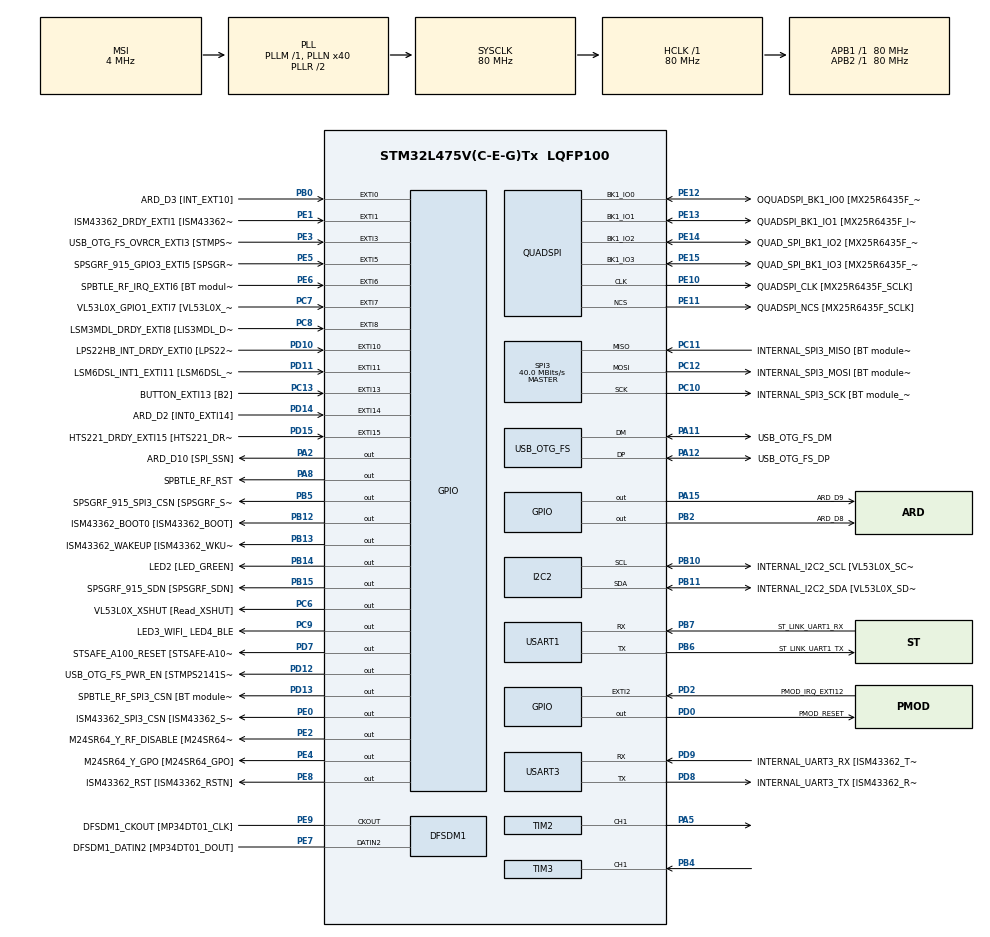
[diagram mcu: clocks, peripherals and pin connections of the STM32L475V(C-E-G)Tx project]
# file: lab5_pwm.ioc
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Mcu.Family=STM32L4
Mcu.Name=STM32L475V(C-E-G)Tx
Mcu.Package=LQFP100
NVIC.EXTI15_10_IRQn=true\:0\:0\:false\:false\:true\:true\:true\:true
NVIC.EXTI9_5_IRQn=true\:0\:0\:false\:false\:true\:true\:true\:true
NVIC.PriorityGroup=NVIC_PRIORITYGROUP_4
NVIC.TIM3_IRQn=true\:0\:0\:false\:false\:true\:true\:true\:true
PA0.GPIO_Label=ARD_D1 [UART4_TX]
PA0.Signal=UART4_TX
PA1.GPIO_Label=ARD_D0 [UART4_RX]
PA1.Signal=UART4_RX
PA10.GPIO_Label=USB_OTG_FS_ID
PA10.Signal=USB_OTG_FS_ID
PA11.GPIO_Label=USB_OTG_FS_DM
PA11.Mode=Device_Only
PA11.Signal=USB_OTG_FS_DM
PA12.GPIO_Label=USB_OTG_FS_DP
PA12.Mode=Device_Only
PA12.Signal=USB_OTG_FS_DP
PA13\ (JTMS-SWDIO).GPIO_Label=SYS_JTMS_SWDIO
PA13\ (JTMS-SWDIO).Mode=Serial_Wire
PA13\ (JTMS-SWDIO).Signal=SYS_JTMS-SWDIO
PA14\ (JTCK-SWCLK).GPIO_Label=SYS_JTCK_SWCLK
PA14\ (JTCK-SWCLK).Mode=Serial_Wire
PA14\ (JTCK-SWCLK).Signal=SYS_JTCK-SWCLK
PA15\ (JTDI).GPIO_Label=ARD_D9
PA15\ (JTDI).Signal=GPIO_Output
PA2.GPIO_Label=ARD_D10 [SPI_SSN]
PA2.Signal=GPIO_Output
PA3.GPIO_Label=ARD_D4
PA3.Signal=S_TIM2_CH4
PA4.GPIO_Label=ARD_D7
PA4.Signal=ADCx_IN9
PA5.Signal=S_TIM2_CH1
PA6.GPIO_Label=ARD_D12 [SPI1_MISO]
PA6.Signal=SPI1_MISO
PA7.GPIO_Label=ARD_D11 [SPI1_MOSI]
PA7.Signal=SPI1_MOSI
PA8.GPIO_Label=SPBTLE_RF_RST
PA8.Signal=GPIO_Output
PA9.GPIO_Label=USB_OTG_FS_VBUS [STMPS2141STR_OUT]
PA9.Signal=USB_OTG_FS_VBUS
PB0.GPIO_Label=ARD_D3 [INT_EXT10]
PB0.Signal=GPXTI0
PB1.GPIO_Label=ARD_D6 [ADC1_IN6]
PB1.Signal=ADCx_IN16
PB10.GPIO_Label=INTERNAL_I2C2_SCL [VL53L0X_SCL]
PB10.GPIO_Pu=GPIO_PULLUP
PB10.Mode=I2C
PB10.Signal=I2C2_SCL
PB11.GPIO_Label=INTERNAL_I2C2_SDA [VL53L0X_SDA]
PB11.GPIO_Pu=GPIO_PULLUP
PB11.Mode=I2C
PB11.Signal=I2C2_SDA
PB12.GPIO_Label=ISM43362_BOOT0 [ISM43362_BOOT]
PB12.Signal=GPIO_Output
PB13.GPIO_Label=ISM43362_WAKEUP [ISM43362_WKUP]
PB13.Signal=GPIO_Output
PB14.GPIO_Label=LED2 [LED_GREEN]
PB14.Signal=GPIO_Output
PB15.GPIO_Label=SPSGRF_915_SDN [SPSGRF_SDN]
PB15.Signal=GPIO_Output
PB2.GPIO_Label=ARD_D8
PB2.Signal=GPIO_Output
PB3\ (JTDO-TRACESWO).GPIO_Label=SYS_JTD0_SWO
PB3\ (JTDO-TRACESWO).Signal=SYS_JTDO-SWO
PB4\ (NJTRST).Signal=S_TIM3_CH1
PB5.GPIO_Label=SPSGRF_915_SPI3_CSN [SPSGRF_SPI_CS]
PB5.PinState=GPIO_PIN_SET
PB5.Signal=GPIO_Output
PB6.GPIO_Label=ST_LINK_UART1_TX
PB6.Mode=Asynchronous
PB6.Signal=USART1_TX
PB7.GPIO_Label=ST_LINK_UART1_RX
PB7.Mode=Asynchronous
PB7.Signal=USART1_RX
PB8.GPIO_Label=ARD_D15 [I2C1_SCL]
PB8.Signal=I2C1_SCL
PB9.GPIO_Label=ARD_D14 [I2C1_SDA]
PB9.Signal=I2C1_SDA
PC0.GPIO_Label=ARD_A5 [ADC]
PC0.Signal=ADCx_IN1
PC1.GPIO_Label=ARD_A4 [ADC]
PC1.Signal=ADCx_IN2
PC10.GPIO_Label=INTERNAL_SPI3_SCK [BT module_SPI_SCLK] [ISM43362_SCK]
PC10.Mode=Full_Duplex_Master
PC10.Signal=SPI3_SCK
PC11.GPIO_Label=INTERNAL_SPI3_MISO [BT module_SPI_MISO] [ISM43362_MISO]
PC11.Mode=Full_Duplex_Master
PC11.Signal=SPI3_MISO
PC12.GPIO_Label=INTERNAL_SPI3_MOSI [BT module_SPI_MOSI] [ISM43362_MOSI]
PC12.Mode=Full_Duplex_Master
PC12.Signal=SPI3_MOSI
PC13.GPIO_Label=BUTTON_EXTI13 [B2]
PC13.GPIO_ModeDefaultEXTI=GPIO_MODE_IT_FALLING
PC13.Signal=GPXTI13
PC14-OSC32_IN\ (PC14).Mode=LSE-External-Oscillator
PC14-OSC32_IN\ (PC14).Signal=RCC_OSC32_IN
PC15-OSC32_OUT\ (PC15).Mode=LSE-External-Oscillator
PC15-OSC32_OUT\ (PC15).Signal=RCC_OSC32_OUT
PC2.GPIO_Label=ARD_A3 [ADC]
PC2.Signal=ADCx_IN3
PC3.GPIO_Label=ARD_A2 [ADC]
PC3.Signal=ADCx_IN4
PC4.GPIO_Label=ARD_A1 [ADC]
PC4.Signal=ADCx_IN13
PC5.GPIO_Label=ARD_A0 [ADC]
PC5.Signal=ADCx_IN14
PC6.GPIO_Label=VL53L0X_XSHUT [Read_XSHUT]
PC6.Signal=GPIO_Output
PC7.GPIO_Label=VL53L0X_GPIO1_EXTI7 [VL53L0X_GPIO1]
PC7.Signal=GPXTI7
PC8.GPIO_Label=LSM3MDL_DRDY_EXTI8 [LIS3MDL_DRDY]
PC8.Signal=GPXTI8
PC9.GPIO_Label=LED3_WIFI_ LED4_BLE
PC9.Signal=GPIO_Output
PD0.GPIO_Label=PMOD_RESET
PD0.Signal=GPIO_Output
PD1.GPIO_Label=PMOD_SPI2_SCK
PD1.Signal=SPI2_SCK
PD10.GPIO_Label=LPS22HB_INT_DRDY_EXTI0 [LPS22HB_INT_DRDY] 
PD10.Signal=GPXTI10
PD11.GPIO_Label=LSM6DSL_INT1_EXTI11 [LSM6DSL_INT1]
PD11.Signal=GPXTI11
PD12.GPIO_Label=USB_OTG_FS_PWR_EN [STMPS2141STR_EN]
PD12.Signal=GPIO_Output
PD13.GPIO_Label=SPBTLE_RF_SPI3_CSN [BT module_SPI_CS]
PD13.PinState=GPIO_PIN_SET
PD13.Signal=GPIO_Output
PD14.GPIO_Label=ARD_D2 [INT0_EXTI14]
PD14.Signal=GPXTI14
PD15.GPIO_Label=HTS221_DRDY_EXTI15 [HTS221_DRDY]
PD15.Signal=GPXTI15
PD2.GPIO_Label=PMOD_IRQ_EXTI12
PD2.Signal=GPXTI2
PD3.GPIO_Label=PMOD_UART2_CTS
PD3.Signal=USART2_CTS
PD4.GPIO_Label=PMOD_UART2_RTS
PD4.Signal=USART2_RTS
PD5.GPIO_Label=PMOD_UART2_TX
PD5.Signal=USART2_TX
PD6.GPIO_Label=PMOD_UART2_RX
PD6.Signal=USART2_RX
PD7.GPIO_Label=STSAFE_A100_RESET [STSAFE-A100_RESET]
PD7.Signal=GPIO_Output
PD8.GPIO_Label=INTERNAL_UART3_TX [ISM43362_RX]
PD8.Mode=Asynchronous
PD8.Signal=USART3_TX
PD9.GPIO_Label=INTERNAL_UART3_RX [ISM43362_TX]
PD9.Mode=Asynchronous
PD9.Signal=USART3_RX
PE0.GPIO_Label=ISM43362_SPI3_CSN [ISM43362_SSN]
PE0.PinState=GPIO_PIN_SET
PE0.Signal=GPIO_Output
PE1.GPIO_Label=ISM43362_DRDY_EXTI1 [ISM43362_DATARDY]
PE1.Signal=GPXTI1
PE10.GPIO_Label=QUADSPI_CLK [MX25R6435F_SCLK]
PE10.Mode=Single Bank
PE10.Signal=QUADSPI_CLK
PE11.GPIO_Label=QUADSPI_NCS [MX25R6435F_SCLK]
PE11.Mode=Single Bank
PE11.Signal=QUADSPI_NCS
PE12.GPIO_Label=OQUADSPI_BK1_IO0 [MX25R6435F_IO0]
PE12.Mode=Single Bank
PE12.Signal=QUADSPI_BK1_IO0
PE13.GPIO_Label=QUADSPI_BK1_IO1 [MX25R6435F_IO1]
PE13.Mode=Single Bank
PE13.Signal=QUADSPI_BK1_IO1
PE14.GPIO_Label=QUAD_SPI_BK1_IO2 [MX25R6435F_IO2]
PE14.Mode=Single Bank
PE14.Signal=QUADSPI_BK1_IO2
PE15.GPIO_Label=QUAD_SPI_BK1_IO3 [MX25R6435F_IO3]
PE15.Mode=Single Bank
PE15.Signal=QUADSPI_BK1_IO3
PE2.GPIO_Label=M24SR64_Y_RF_DISABLE [M24SR64_RFDIS]
PE2.Signal=GPIO_Output
PE3.GPIO_Label=USB_OTG_FS_OVRCR_EXTI3 [STMPS2141STR_FAULT]
PE3.Signal=GPXTI3
PE4.GPIO_Label=M24SR64_Y_GPO [M24SR64_GPO]
PE4.Signal=GPIO_Output
PE5.GPIO_Label=SPSGRF_915_GPIO3_EXTI5 [SPSGRF_GPIO_3]
PE5.Signal=GPXTI5
PE6.GPIO_Label=SPBTLE_RF_IRQ_EXTI6 [BT module_SPI_IRQ]
PE6.Signal=GPXTI6
PE7.GPIO_Label=DFSDM1_DATIN2 [MP34DT01_DOUT]
PE7.Signal=S_DATAIN2DFSDM1
PE8.GPIO_Label=ISM43362_RST [ISM43362_RSTN]
PE8.Signal=GPIO_Output
PE9.GPIO_Label=DFSDM1_CKOUT [MP34DT01_CLK]
PE9.Signal=S_CKOUTDFSDM1
ProjectManager.HeapSize=0x200
ProjectManager.StackSize=0x400
ProjectManager.TargetToolchain=CMake
QUADSPI.ClockPrescaler=2
QUADSPI.FifoThreshold=4
QUADSPI.FlashSize=23
QUADSPI.SampleShifting=QSPI_SAMPLE_SHIFTING_HALFCYCLE
RCC.ADCFreq_Value=48000000
RCC.AHBFreq_Value=80000000
RCC.APB1Freq_Value=80000000
RCC.APB1TimFreq_Value=80000000
RCC.APB2Freq_Value=80000000
RCC.APB2TimFreq_Value=80000000
RCC.CortexFreq_Value=80000000
RCC.HCLKFreq_Value=80000000
RCC.HSE_VALUE=8000000
RCC.HSI_VALUE=16000000
RCC.MSI_VALUE=4000000
RCC.PLLN=40
RCC.PLLSAI1N=24
RCC.SYSCLKFreq_VALUE=80000000
RCC.SYSCLKSource=RCC_SYSCLKSOURCE_PLLCLK
RCC.USBFreq_Value=48000000
RCC.VCOOutputFreq_Value=160000000
SH.ADCx_IN1.0=ADC1_IN1
SH.ADCx_IN13.0=ADC1_IN13
SH.ADCx_IN14.0=ADC1_IN14
SH.ADCx_IN16.0=ADC1_IN16
SH.ADCx_IN2.0=ADC1_IN2
SH.ADCx_IN3.0=ADC1_IN3
SH.ADCx_IN4.0=ADC1_IN4
SH.ADCx_IN9.0=ADC1_IN9
SH.S_CKOUTDFSDM1.0=DFSDM1_CKOUT,CKOUT
SH.S_CKOUTDFSDM1.1=DFSDM1_CKOUT,PDM_SPI_Input_from_ch12_and_Internal_Clock
SH.S_DATAIN2DFSDM1.0=DFSDM1_DATIN2,PDM_SPI_Input_from_ch12_and_Internal_Clock
SH.S_TIM2_CH1.0=TIM2_CH1,PWM Generation1 CH1
SH.S_TIM2_CH4.0=TIM2_CH4
SH.S_TIM3_CH1.0=TIM3_CH1,Input_Capture1_from_TI1
SPI3.CalculateBaudRate=40.0 MBits/s
SPI3.Direction=SPI_DIRECTION_2LINES
SPI3.Mode=SPI_MODE_MASTER
SPI3.VirtualType=VM_MASTER
TIM2.Channel-PWM\ Generation1\ CH1=TIM_CHANNEL_1
TIM2.Period=999
TIM2.Prescaler=79
TIM2.Pulse-PWM\ Generation1\ CH1=250
TIM3.Channel-Input_Capture1_from_TI1=TIM_CHANNEL_1
TIM3.Channel-Input_Capture2_from_TI1_63=TIM_CHANNEL_2
TIM3.ICPolarity_CH2=TIM_INPUTCHANNELPOLARITY_FALLING
TIM3.Prescaler=79
USART1.VirtualMode-Asynchronous=VM_ASYNC
USART3.VirtualMode-Asynchronous=VM_ASYNC
USB_OTG_FS.VirtualMode=Device_Only
VP_TIM2_VS_ClockSourceINT.Mode=Internal
VP_TIM3_VS_ClockSourceINT.Mode=Internal
VP_TIM3_VS_indirect_ch1.Mode=Input_Capture2_from_TI1_63
board=B-L475E-IOT01A1

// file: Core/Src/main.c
/* USER CODE BEGIN Header */
/**
  ******************************************************************************
  * @file           : main.c
  * @brief          : Main program body
  ******************************************************************************
  * @attention
  *
  * Copyright (c) 2026 STMicroelectronics.
  * All rights reserved.
  *
  * This software is licensed under terms that can be found in the LICENSE file
  * in the root directory of this software component.
  * If no LICENSE file comes with this software, it is provided AS-IS.
  *
  ******************************************************************************
  */
/* USER CODE END Header */
#include "main.h"

/* USER CODE BEGIN Includes */
#include <stdio.h>

/* USER CODE END Includes */

DFSDM_Channel_HandleTypeDef hdfsdm1_channel1;

I2C_HandleTypeDef hi2c2;

QSPI_HandleTypeDef hqspi;

SPI_HandleTypeDef hspi3;

TIM_HandleTypeDef htim2;
TIM_HandleTypeDef htim3;

UART_HandleTypeDef huart1;
UART_HandleTypeDef huart3;

PCD_HandleTypeDef hpcd_USB_OTG_FS;

/* USER CODE BEGIN PV */
volatile uint32_t period_us = 0;
volatile uint32_t capture_count = 0;
volatile uint32_t high_us = 0;
/* USER CODE END PV */

void SystemClock_Config(void);
static void MX_GPIO_Init(void);
static void MX_DFSDM1_Init(void);
static void MX_I2C2_Init(void);
static void MX_QUADSPI_Init(void);
static void MX_SPI3_Init(void);
static void MX_USART1_UART_Init(void);
static void MX_USART3_UART_Init(void);
static void MX_USB_OTG_FS_PCD_Init(void);
static void MX_TIM2_Init(void);
static void MX_TIM3_Init(void);

/* USER CODE BEGIN 0 */
void HAL_TIM_IC_CaptureCallback(TIM_HandleTypeDef *htim)
{
  static uint16_t previous_rise = 0;
  static uint16_t pending_high = 0;
  static uint8_t have_rise = 0;
  static uint8_t have_fall = 0;

  if (htim->Instance != TIM3)
    return;

  if (htim->Channel == HAL_TIM_ACTIVE_CHANNEL_1)
  {
    uint16_t current =
        (uint16_t)HAL_TIM_ReadCapturedValue(htim, TIM_CHANNEL_1);

    if (have_rise && have_fall)
    {
      period_us = (uint16_t)(current - previous_rise);
      high_us = pending_high;
    }

    previous_rise = current;
    have_rise = 1;
    have_fall = 0;
    capture_count++;
  }
  else if (htim->Channel == HAL_TIM_ACTIVE_CHANNEL_2)
  {
    uint16_t current =
        (uint16_t)HAL_TIM_ReadCapturedValue(htim, TIM_CHANNEL_2);

    if (have_rise)
    {
      pending_high = (uint16_t)(current - previous_rise);
      have_fall = 1;
    }
  }
}
/* USER CODE END 0 */

int main(void)
{

  /* MCU Configuration--------------------------------------------------------*/

  /* Reset of all peripherals, Initializes the Flash interface and the Systick. */
  HAL_Init();

  /* Configure the system clock */
  SystemClock_Config();

  /* Initialize all configured peripherals */
  MX_GPIO_Init();
  MX_DFSDM1_Init();
  MX_I2C2_Init();
  MX_QUADSPI_Init();
  MX_SPI3_Init();
  MX_USART1_UART_Init();
  MX_USART3_UART_Init();
  MX_USB_OTG_FS_PCD_Init();
  MX_TIM2_Init();
  MX_TIM3_Init();
  /* USER CODE BEGIN 2 */
  HAL_TIM_IC_Start_IT(&htim3, TIM_CHANNEL_2);
  HAL_TIM_IC_Start_IT(&htim3, TIM_CHANNEL_1);

  __HAL_TIM_SET_COMPARE(&htim2, TIM_CHANNEL_1, 500);
  HAL_TIM_PWM_Start(&htim2, TIM_CHANNEL_1);
  uint32_t last_change = HAL_GetTick();
  uint32_t duty_index = 0;
  const uint32_t compare_values[] = {1, 250, 500, 750, 999};

  __HAL_TIM_SET_COMPARE(&htim2, TIM_CHANNEL_1,
                        compare_values[duty_index]);
  /* USER CODE END 2 */

  /* Infinite loop */
  while (1)
  {

    /* USER CODE BEGIN 3 */
    // for(int i = 0; i <= 1000; i += 100){
    //   __HAL_TIM_SET_COMPARE(&htim2, TIM_CHANNEL_1, i);
    //   HAL_Delay(500);
    // }
    // for(int i = 1000; i >= 0; i -= 100){
    //   __HAL_TIM_SET_COMPARE(&htim2, TIM_CHANNEL_1, i);
    //   HAL_Delay(500);
    // }
    uint32_t now = HAL_GetTick();

    if (now - last_change >= 2000)
    {
      last_change = now;
      duty_index = (duty_index + 1) % 5;

      __HAL_TIM_SET_COMPARE(&htim2, TIM_CHANNEL_1,
                            compare_values[duty_index]);
    }
    uint32_t period;
    uint32_t high;

    /* Read a matching pair without the callback updating it halfway. */
    __disable_irq();
    period = period_us;
    high = high_us;
    __enable_irq();
1000
    char message[120];
    int length;

    if (period != 0)
    {
      uint32_t frequency = 1000000UL / period;
      uint32_t duty = high * 100UL / period;

      length = snprintf(message, sizeof(message),
                        "Period: %lu us, HIGH: %lu us, "
                        "Frequency: %lu Hz, Duty: %lu%%\r\n",
                        (unsigned long)period,
                        (unsigned long)high,
                        (unsigned long)frequency,
                        (unsigned long)duty);
    }
    else
    {
      length = snprintf(message, sizeof(message),
                        "Waiting for capture...\r\n");
    }

    HAL_UART_Transmit(&huart1, (uint8_t *)message,
                      (uint16_t)length, HAL_MAX_DELAY);
    HAL_Delay(500);
  }
  /* USER CODE END 3 */
}

void SystemClock_Config(void)
{
  RCC_OscInitTypeDef RCC_OscInitStruct = {0};
  RCC_ClkInitTypeDef RCC_ClkInitStruct = {0};

  /** Configure the main internal regulator output voltage
  */
  if (HAL_PWREx_ControlVoltageScaling(PWR_REGULATOR_VOLTAGE_SCALE1) != HAL_OK)
  {
    Error_Handler();
  }

  /** Configure LSE Drive Capability
  */
  HAL_PWR_EnableBkUpAccess();
  __HAL_RCC_LSEDRIVE_CONFIG(RCC_LSEDRIVE_LOW);

  /** Initializes the RCC Oscillators according to the specified parameters
  * in the RCC_OscInitTypeDef structure.
  */
  RCC_OscInitStruct.OscillatorType = RCC_OSCILLATORTYPE_LSE|RCC_OSCILLATORTYPE_MSI;
  RCC_OscInitStruct.LSEState = RCC_LSE_ON;
  RCC_OscInitStruct.MSIState = RCC_MSI_ON;
  RCC_OscInitStruct.MSICalibrationValue = 0;
  RCC_OscInitStruct.MSIClockRange = RCC_MSIRANGE_6;
  RCC_OscInitStruct.PLL.PLLState = RCC_PLL_ON;
  RCC_OscInitStruct.PLL.PLLSource = RCC_PLLSOURCE_MSI;
  RCC_OscInitStruct.PLL.PLLM = 1;
  RCC_OscInitStruct.PLL.PLLN = 40;
  RCC_OscInitStruct.PLL.PLLP = RCC_PLLP_DIV7;
  RCC_OscInitStruct.PLL.PLLQ = RCC_PLLQ_DIV2;
  RCC_OscInitStruct.PLL.PLLR = RCC_PLLR_DIV2;
  if (HAL_RCC_OscConfig(&RCC_OscInitStruct) != HAL_OK)
  {
    Error_Handler();
  }

  /** Initializes the CPU, AHB and APB buses clocks
  */
  RCC_ClkInitStruct.ClockType = RCC_CLOCKTYPE_HCLK|RCC_CLOCKTYPE_SYSCLK
                              |RCC_CLOCKTYPE_PCLK1|RCC_CLOCKTYPE_PCLK2;
  RCC_ClkInitStruct.SYSCLKSource = RCC_SYSCLKSOURCE_PLLCLK;
  RCC_ClkInitStruct.AHBCLKDivider = RCC_SYSCLK_DIV1;
  RCC_ClkInitStruct.APB1CLKDivider = RCC_HCLK_DIV1;
  RCC_ClkInitStruct.APB2CLKDivider = RCC_HCLK_DIV1;

  if (HAL_RCC_ClockConfig(&RCC_ClkInitStruct, FLASH_LATENCY_4) != HAL_OK)
  {
    Error_Handler();
  }

  /** Enable MSI Auto calibration
  */
  HAL_RCCEx_EnableMSIPLLMode();
}

static void MX_DFSDM1_Init(void)
{

  hdfsdm1_channel1.Instance = DFSDM1_Channel1;
  hdfsdm1_channel1.Init.OutputClock.Activation = ENABLE;
  hdfsdm1_channel1.Init.OutputClock.Selection = DFSDM_CHANNEL_OUTPUT_CLOCK_SYSTEM;
  hdfsdm1_channel1.Init.OutputClock.Divider = 2;
  hdfsdm1_channel1.Init.Input.Multiplexer = DFSDM_CHANNEL_EXTERNAL_INPUTS;
  hdfsdm1_channel1.Init.Input.DataPacking = DFSDM_CHANNEL_STANDARD_MODE;
  hdfsdm1_channel1.Init.Input.Pins = DFSDM_CHANNEL_FOLLOWING_CHANNEL_PINS;
  hdfsdm1_channel1.Init.SerialInterface.Type = DFSDM_CHANNEL_SPI_RISING;
  hdfsdm1_channel1.Init.SerialInterface.SpiClock = DFSDM_CHANNEL_SPI_CLOCK_INTERNAL;
  hdfsdm1_channel1.Init.Awd.FilterOrder = DFSDM_CHANNEL_FASTSINC_ORDER;
  hdfsdm1_channel1.Init.Awd.Oversampling = 1;
  hdfsdm1_channel1.Init.Offset = 0;
  hdfsdm1_channel1.Init.RightBitShift = 0x00;
  if (HAL_DFSDM_ChannelInit(&hdfsdm1_channel1) != HAL_OK)
  {
    Error_Handler();
  }

}

static void MX_I2C2_Init(void)
{

  hi2c2.Instance = I2C2;
  hi2c2.Init.Timing = 0x00000E14;
  hi2c2.Init.OwnAddress1 = 0;
  hi2c2.Init.AddressingMode = I2C_ADDRESSINGMODE_7BIT;
  hi2c2.Init.DualAddressMode = I2C_DUALADDRESS_DISABLE;
  hi2c2.Init.OwnAddress2 = 0;
  hi2c2.Init.OwnAddress2Masks = I2C_OA2_NOMASK;
  hi2c2.Init.GeneralCallMode = I2C_GENERALCALL_DISABLE;
  hi2c2.Init.NoStretchMode = I2C_NOSTRETCH_DISABLE;
  if (HAL_I2C_Init(&hi2c2) != HAL_OK)
  {
    Error_Handler();
  }

  /** Configure Analogue filter
  */
  if (HAL_I2CEx_ConfigAnalogFilter(&hi2c2, I2C_ANALOGFILTER_ENABLE) != HAL_OK)
  {
    Error_Handler();
  }

  /** Configure Digital filter
  */
  if (HAL_I2CEx_ConfigDigitalFilter(&hi2c2, 0) != HAL_OK)
  {
    Error_Handler();
  }

}

static void MX_QUADSPI_Init(void)
{

  /* QUADSPI parameter configuration*/
  hqspi.Instance = QUADSPI;
  hqspi.Init.ClockPrescaler = 2;
  hqspi.Init.FifoThreshold = 4;
  hqspi.Init.SampleShifting = QSPI_SAMPLE_SHIFTING_HALFCYCLE;
  hqspi.Init.FlashSize = 23;
  hqspi.Init.ChipSelectHighTime = QSPI_CS_HIGH_TIME_1_CYCLE;
  hqspi.Init.ClockMode = QSPI_CLOCK_MODE_0;
  if (HAL_QSPI_Init(&hqspi) != HAL_OK)
  {
    Error_Handler();
  }

}

static void MX_SPI3_Init(void)
{

  /* SPI3 parameter configuration*/
  hspi3.Instance = SPI3;
  hspi3.Init.Mode = SPI_MODE_MASTER;
  hspi3.Init.Direction = SPI_DIRECTION_2LINES;
  hspi3.Init.DataSize = SPI_DATASIZE_4BIT;
  hspi3.Init.CLKPolarity = SPI_POLARITY_LOW;
  hspi3.Init.CLKPhase = SPI_PHASE_1EDGE;
  hspi3.Init.NSS = SPI_NSS_SOFT;
  hspi3.Init.BaudRatePrescaler = SPI_BAUDRATEPRESCALER_2;
  hspi3.Init.FirstBit = SPI_FIRSTBIT_MSB;
  hspi3.Init.TIMode = SPI_TIMODE_DISABLE;
  hspi3.Init.CRCCalculation = SPI_CRCCALCULATION_DISABLE;
  hspi3.Init.CRCPolynomial = 7;
  hspi3.Init.CRCLength = SPI_CRC_LENGTH_DATASIZE;
  hspi3.Init.NSSPMode = SPI_NSS_PULSE_ENABLE;
  if (HAL_SPI_Init(&hspi3) != HAL_OK)
  {
    Error_Handler();
  }

}

static void MX_TIM2_Init(void)
{

  TIM_ClockConfigTypeDef sClockSourceConfig = {0};
  TIM_MasterConfigTypeDef sMasterConfig = {0};
  TIM_OC_InitTypeDef sConfigOC = {0};

  htim2.Instance = TIM2;
  htim2.Init.Prescaler = 79;
  htim2.Init.CounterMode = TIM_COUNTERMODE_UP;
  htim2.Init.Period = 999;
  htim2.Init.ClockDivision = TIM_CLOCKDIVISION_DIV1;
  htim2.Init.AutoReloadPreload = TIM_AUTORELOAD_PRELOAD_DISABLE;
  if (HAL_TIM_Base_Init(&htim2) != HAL_OK)
  {
    Error_Handler();
  }
  sClockSourceConfig.ClockSource = TIM_CLOCKSOURCE_INTERNAL;
  if (HAL_TIM_ConfigClockSource(&htim2, &sClockSourceConfig) != HAL_OK)
  {
    Error_Handler();
  }
  if (HAL_TIM_PWM_Init(&htim2) != HAL_OK)
  {
    Error_Handler();
  }
  sMasterConfig.MasterOutputTrigger = TIM_TRGO_RESET;
  sMasterConfig.MasterSlaveMode = TIM_MASTERSLAVEMODE_DISABLE;
  if (HAL_TIMEx_MasterConfigSynchronization(&htim2, &sMasterConfig) != HAL_OK)
  {
    Error_Handler();
  }
  sConfigOC.OCMode = TIM_OCMODE_PWM1;
  sConfigOC.Pulse = 250;
  sConfigOC.OCPolarity = TIM_OCPOLARITY_HIGH;
  sConfigOC.OCFastMode = TIM_OCFAST_DISABLE;
  if (HAL_TIM_PWM_ConfigChannel(&htim2, &sConfigOC, TIM_CHANNEL_1) != HAL_OK)
  {
    Error_Handler();
  }
  HAL_TIM_MspPostInit(&htim2);

}

static void MX_TIM3_Init(void)
{

  TIM_ClockConfigTypeDef sClockSourceConfig = {0};
  TIM_MasterConfigTypeDef sMasterConfig = {0};
  TIM_IC_InitTypeDef sConfigIC = {0};

  htim3.Instance = TIM3;
  htim3.Init.Prescaler = 79;
  htim3.Init.CounterMode = TIM_COUNTERMODE_UP;
  htim3.Init.Period = 65535;
  htim3.Init.ClockDivision = TIM_CLOCKDIVISION_DIV1;
  htim3.Init.AutoReloadPreload = TIM_AUTORELOAD_PRELOAD_DISABLE;
  if (HAL_TIM_Base_Init(&htim3) != HAL_OK)
  {
    Error_Handler();
  }
  sClockSourceConfig.ClockSource = TIM_CLOCKSOURCE_INTERNAL;
  if (HAL_TIM_ConfigClockSource(&htim3, &sClockSourceConfig) != HAL_OK)
  {
    Error_Handler();
  }
  if (HAL_TIM_IC_Init(&htim3) != HAL_OK)
  {
    Error_Handler();
  }
  sMasterConfig.MasterOutputTrigger = TIM_TRGO_RESET;
  sMasterConfig.MasterSlaveMode = TIM_MASTERSLAVEMODE_DISABLE;
  if (HAL_TIMEx_MasterConfigSynchronization(&htim3, &sMasterConfig) != HAL_OK)
  {
    Error_Handler();
  }
  sConfigIC.ICPolarity = TIM_INPUTCHANNELPOLARITY_RISING;
  sConfigIC.ICSelection = TIM_ICSELECTION_DIRECTTI;
  sConfigIC.ICPrescaler = TIM_ICPSC_DIV1;
  sConfigIC.ICFilter = 0;
  if (HAL_TIM_IC_ConfigChannel(&htim3, &sConfigIC, TIM_CHANNEL_1) != HAL_OK)
  {
    Error_Handler();
  }
  sConfigIC.ICPolarity = TIM_INPUTCHANNELPOLARITY_FALLING;
  sConfigIC.ICSelection = TIM_ICSELECTION_INDIRECTTI;
  if (HAL_TIM_IC_ConfigChannel(&htim3, &sConfigIC, TIM_CHANNEL_2) != HAL_OK)
  {
    Error_Handler();
  }

}

static void MX_USART1_UART_Init(void)
{

  huart1.Instance = USART1;
  huart1.Init.BaudRate = 115200;
  huart1.Init.WordLength = UART_WORDLENGTH_8B;
  huart1.Init.StopBits = UART_STOPBITS_1;
  huart1.Init.Parity = UART_PARITY_NONE;
  huart1.Init.Mode = UART_MODE_TX_RX;
  huart1.Init.HwFlowCtl = UART_HWCONTROL_NONE;
  huart1.Init.OverSampling = UART_OVERSAMPLING_16;
  huart1.Init.OneBitSampling = UART_ONE_BIT_SAMPLE_DISABLE;
  huart1.AdvancedInit.AdvFeatureInit = UART_ADVFEATURE_NO_INIT;
  if (HAL_UART_Init(&huart1) != HAL_OK)
  {
    Error_Handler();
  }

}

static void MX_USART3_UART_Init(void)
{

  huart3.Instance = USART3;
  huart3.Init.BaudRate = 115200;
  huart3.Init.WordLength = UART_WORDLENGTH_8B;
  huart3.Init.StopBits = UART_STOPBITS_1;
  huart3.Init.Parity = UART_PARITY_NONE;
  huart3.Init.Mode = UART_MODE_TX_RX;
  huart3.Init.HwFlowCtl = UART_HWCONTROL_NONE;
  huart3.Init.OverSampling = UART_OVERSAMPLING_16;
  huart3.Init.OneBitSampling = UART_ONE_BIT_SAMPLE_DISABLE;
  huart3.AdvancedInit.AdvFeatureInit = UART_ADVFEATURE_NO_INIT;
  if (HAL_UART_Init(&huart3) != HAL_OK)
  {
    Error_Handler();
  }

}

static void MX_USB_OTG_FS_PCD_Init(void)
{

  hpcd_USB_OTG_FS.Instance = USB_OTG_FS;
  hpcd_USB_OTG_FS.Init.dev_endpoints = 6;
  hpcd_USB_OTG_FS.Init.speed = PCD_SPEED_FULL;
  hpcd_USB_OTG_FS.Init.phy_itface = PCD_PHY_EMBEDDED;
  hpcd_USB_OTG_FS.Init.Sof_enable = DISABLE;
  hpcd_USB_OTG_FS.Init.low_power_enable = DISABLE;
  hpcd_USB_OTG_FS.Init.lpm_enable = DISABLE;
  hpcd_USB_OTG_FS.Init.battery_charging_enable = DISABLE;
  hpcd_USB_OTG_FS.Init.use_dedicated_ep1 = DISABLE;
  hpcd_USB_OTG_FS.Init.vbus_sensing_enable = DISABLE;
  if (HAL_PCD_Init(&hpcd_USB_OTG_FS) != HAL_OK)
  {
    Error_Handler();
  }

}

static void MX_GPIO_Init(void)
{
  GPIO_InitTypeDef GPIO_InitStruct = {0};

  /* GPIO Ports Clock Enable */
  __HAL_RCC_GPIOE_CLK_ENABLE();
  __HAL_RCC_GPIOC_CLK_ENABLE();
  __HAL_RCC_GPIOA_CLK_ENABLE();
  __HAL_RCC_GPIOB_CLK_ENABLE();
  __HAL_RCC_GPIOD_CLK_ENABLE();

  /*Configure GPIO pin Output Level */
  HAL_GPIO_WritePin(GPIOE, M24SR64_Y_RF_DISABLE_Pin|M24SR64_Y_GPO_Pin|ISM43362_RST_Pin, GPIO_PIN_RESET);

  /*Configure GPIO pin Output Level */
  HAL_GPIO_WritePin(GPIOA, ARD_D10_Pin|SPBTLE_RF_RST_Pin|ARD_D9_Pin, GPIO_PIN_RESET);

  /*Configure GPIO pin Output Level */
  HAL_GPIO_WritePin(GPIOB, ARD_D8_Pin|ISM43362_BOOT0_Pin|ISM43362_WAKEUP_Pin|LED2_Pin
                          |SPSGRF_915_SDN_Pin, GPIO_PIN_RESET);

  /*Configure GPIO pin Output Level */
  HAL_GPIO_WritePin(GPIOD, USB_OTG_FS_PWR_EN_Pin|PMOD_RESET_Pin|STSAFE_A100_RESET_Pin, GPIO_PIN_RESET);

  /*Configure GPIO pin Output Level */
  HAL_GPIO_WritePin(SPBTLE_RF_SPI3_CSN_GPIO_Port, SPBTLE_RF_SPI3_CSN_Pin, GPIO_PIN_SET);

  /*Configure GPIO pin Output Level */
  HAL_GPIO_WritePin(GPIOC, VL53L0X_XSHUT_Pin|LED3_WIFI__LED4_BLE_Pin, GPIO_PIN_RESET);

  /*Configure GPIO pin Output Level */
  HAL_GPIO_WritePin(SPSGRF_915_SPI3_CSN_GPIO_Port, SPSGRF_915_SPI3_CSN_Pin, GPIO_PIN_SET);

  /*Configure GPIO pin Output Level */
  HAL_GPIO_WritePin(ISM43362_SPI3_CSN_GPIO_Port, ISM43362_SPI3_CSN_Pin, GPIO_PIN_SET);

  /*Configure GPIO pins : M24SR64_Y_RF_DISABLE_Pin M24SR64_Y_GPO_Pin ISM43362_RST_Pin ISM43362_SPI3_CSN_Pin */
  GPIO_InitStruct.Pin = M24SR64_Y_RF_DISABLE_Pin|M24SR64_Y_GPO_Pin|ISM43362_RST_Pin|ISM43362_SPI3_CSN_Pin;
  GPIO_InitStruct.Mode = GPIO_MODE_OUTPUT_PP;
  GPIO_InitStruct.Pull = GPIO_NOPULL;
  GPIO_InitStruct.Speed = GPIO_SPEED_FREQ_LOW;
  HAL_GPIO_Init(GPIOE, &GPIO_InitStruct);

  /*Configure GPIO pins : USB_OTG_FS_OVRCR_EXTI3_Pin SPSGRF_915_GPIO3_EXTI5_Pin SPBTLE_RF_IRQ_EXTI6_Pin ISM43362_DRDY_EXTI1_Pin */
  GPIO_InitStruct.Pin = USB_OTG_FS_OVRCR_EXTI3_Pin|SPSGRF_915_GPIO3_EXTI5_Pin|SPBTLE_RF_IRQ_EXTI6_Pin|ISM43362_DRDY_EXTI1_Pin;
  GPIO_InitStruct.Mode = GPIO_MODE_IT_RISING;
  GPIO_InitStruct.Pull = GPIO_NOPULL;
  HAL_GPIO_Init(GPIOE, &GPIO_InitStruct);

  /*Configure GPIO pin : BUTTON_EXTI13_Pin */
  GPIO_InitStruct.Pin = BUTTON_EXTI13_Pin;
  GPIO_InitStruct.Mode = GPIO_MODE_IT_FALLING;
  GPIO_InitStruct.Pull = GPIO_NOPULL;
  HAL_GPIO_Init(BUTTON_EXTI13_GPIO_Port, &GPIO_InitStruct);

  /*Configure GPIO pins : ARD_A5_Pin ARD_A4_Pin ARD_A3_Pin ARD_A2_Pin
                           ARD_A1_Pin ARD_A0_Pin */
  GPIO_InitStruct.Pin = ARD_A5_Pin|ARD_A4_Pin|ARD_A3_Pin|ARD_A2_Pin
                          |ARD_A1_Pin|ARD_A0_Pin;
  GPIO_InitStruct.Mode = GPIO_MODE_ANALOG_ADC_CONTROL;
  GPIO_InitStruct.Pull = GPIO_NOPULL;
  HAL_GPIO_Init(GPIOC, &GPIO_InitStruct);

  /*Configure GPIO pins : ARD_D1_Pin ARD_D0_Pin */
  GPIO_InitStruct.Pin = ARD_D1_Pin|ARD_D0_Pin;
  GPIO_InitStruct.Mode = GPIO_MODE_AF_PP;
  GPIO_InitStruct.Pull = GPIO_NOPULL;
  GPIO_InitStruct.Speed = GPIO_SPEED_FREQ_VERY_HIGH;
  GPIO_InitStruct.Alternate = GPIO_AF8_UART4;
  HAL_GPIO_Init(GPIOA, &GPIO_InitStruct);

  /*Configure GPIO pins : ARD_D10_Pin SPBTLE_RF_RST_Pin ARD_D9_Pin */
  GPIO_InitStruct.Pin = ARD_D10_Pin|SPBTLE_RF_RST_Pin|ARD_D9_Pin;
  GPIO_InitStruct.Mode = GPIO_MODE_OUTPUT_PP;
  GPIO_InitStruct.Pull = GPIO_NOPULL;
  GPIO_InitStruct.Speed = GPIO_SPEED_FREQ_LOW;
  HAL_GPIO_Init(GPIOA, &GPIO_InitStruct);

  /*Configure GPIO pin : ARD_D7_Pin */
  GPIO_InitStruct.Pin = ARD_D7_Pin;
  GPIO_InitStruct.Mode = GPIO_MODE_ANALOG_ADC_CONTROL;
  GPIO_InitStruct.Pull = GPIO_NOPULL;
  HAL_GPIO_Init(ARD_D7_GPIO_Port, &GPIO_InitStruct);

  /*Configure GPIO pins : ARD_D12_Pin ARD_D11_Pin */
  GPIO_InitStruct.Pin = ARD_D12_Pin|ARD_D11_Pin;
  GPIO_InitStruct.Mode = GPIO_MODE_AF_PP;
  GPIO_InitStruct.Pull = GPIO_NOPULL;
  GPIO_InitStruct.Speed = GPIO_SPEED_FREQ_VERY_HIGH;
  GPIO_InitStruct.Alternate = GPIO_AF5_SPI1;
  HAL_GPIO_Init(GPIOA, &GPIO_InitStruct);

  /*Configure GPIO pin : ARD_D3_Pin */
  GPIO_InitStruct.Pin = ARD_D3_Pin;
  GPIO_InitStruct.Mode = GPIO_MODE_IT_RISING;
  GPIO_InitStruct.Pull = GPIO_NOPULL;
  HAL_GPIO_Init(ARD_D3_GPIO_Port, &GPIO_InitStruct);

  /*Configure GPIO pin : ARD_D6_Pin */
  GPIO_InitStruct.Pin = ARD_D6_Pin;
  GPIO_InitStruct.Mode = GPIO_MODE_ANALOG_ADC_CONTROL;
  GPIO_InitStruct.Pull = GPIO_NOPULL;
  HAL_GPIO_Init(ARD_D6_GPIO_Port, &GPIO_InitStruct);

  /*Configure GPIO pins : ARD_D8_Pin ISM43362_BOOT0_Pin ISM43362_WAKEUP_Pin LED2_Pin
                           SPSGRF_915_SDN_Pin SPSGRF_915_SPI3_CSN_Pin */
  GPIO_InitStruct.Pin = ARD_D8_Pin|ISM43362_BOOT0_Pin|ISM43362_WAKEUP_Pin|LED2_Pin
                          |SPSGRF_915_SDN_Pin|SPSGRF_915_SPI3_CSN_Pin;
  GPIO_InitStruct.Mode = GPIO_MODE_OUTPUT_PP;
  GPIO_InitStruct.Pull = GPIO_NOPULL;
  GPIO_InitStruct.Speed = GPIO_SPEED_FREQ_LOW;
  HAL_GPIO_Init(GPIOB, &GPIO_InitStruct);

  /*Configure GPIO pins : LPS22HB_INT_DRDY_EXTI0_Pin LSM6DSL_INT1_EXTI11_Pin ARD_D2_Pin HTS221_DRDY_EXTI15_Pin
                           PMOD_IRQ_EXTI12_Pin */
  GPIO_InitStruct.Pin = LPS22HB_INT_DRDY_EXTI0_Pin|LSM6DSL_INT1_EXTI11_Pin|ARD_D2_Pin|HTS221_DRDY_EXTI15_Pin
                          |PMOD_IRQ_EXTI12_Pin;
  GPIO_InitStruct.Mode = GPIO_MODE_IT_RISING;
  GPIO_InitStruct.Pull = GPIO_NOPULL;
  HAL_GPIO_Init(GPIOD, &GPIO_InitStruct);

  /*Configure GPIO pins : USB_OTG_FS_PWR_EN_Pin SPBTLE_RF_SPI3_CSN_Pin PMOD_RESET_Pin STSAFE_A100_RESET_Pin */
  GPIO_InitStruct.Pin = USB_OTG_FS_PWR_EN_Pin|SPBTLE_RF_SPI3_CSN_Pin|PMOD_RESET_Pin|STSAFE_A100_RESET_Pin;
  GPIO_InitStruct.Mode = GPIO_MODE_OUTPUT_PP;
  GPIO_InitStruct.Pull = GPIO_NOPULL;
  GPIO_InitStruct.Speed = GPIO_SPEED_FREQ_LOW;
  HAL_GPIO_Init(GPIOD, &GPIO_InitStruct);

  /*Configure GPIO pins : VL53L0X_XSHUT_Pin LED3_WIFI__LED4_BLE_Pin */
  GPIO_InitStruct.Pin = VL53L0X_XSHUT_Pin|LED3_WIFI__LED4_BLE_Pin;
  GPIO_InitStruct.Mode = GPIO_MODE_OUTPUT_PP;
  GPIO_InitStruct.Pull = GPIO_NOPULL;
  GPIO_InitStruct.Speed = GPIO_SPEED_FREQ_LOW;
  HAL_GPIO_Init(GPIOC, &GPIO_InitStruct);

  /*Configure GPIO pins : VL53L0X_GPIO1_EXTI7_Pin LSM3MDL_DRDY_EXTI8_Pin */
  GPIO_InitStruct.Pin = VL53L0X_GPIO1_EXTI7_Pin|LSM3MDL_DRDY_EXTI8_Pin;
  GPIO_InitStruct.Mode = GPIO_MODE_IT_RISING;
  GPIO_InitStruct.Pull = GPIO_NOPULL;
  HAL_GPIO_Init(GPIOC, &GPIO_InitStruct);

  /*Configure GPIO pin : PMOD_SPI2_SCK_Pin */
  GPIO_InitStruct.Pin = PMOD_SPI2_SCK_Pin;
  GPIO_InitStruct.Mode = GPIO_MODE_AF_PP;
  GPIO_InitStruct.Pull = GPIO_NOPULL;
  GPIO_InitStruct.Speed = GPIO_SPEED_FREQ_VERY_HIGH;
  GPIO_InitStruct.Alternate = GPIO_AF5_SPI2;
  HAL_GPIO_Init(PMOD_SPI2_SCK_GPIO_Port, &GPIO_InitStruct);

  /*Configure GPIO pins : PMOD_UART2_CTS_Pin PMOD_UART2_RTS_Pin PMOD_UART2_TX_Pin PMOD_UART2_RX_Pin */
  GPIO_InitStruct.Pin = PMOD_UART2_CTS_Pin|PMOD_UART2_RTS_Pin|PMOD_UART2_TX_Pin|PMOD_UART2_RX_Pin;
  GPIO_InitStruct.Mode = GPIO_MODE_AF_PP;
  GPIO_InitStruct.Pull = GPIO_NOPULL;
  GPIO_InitStruct.Speed = GPIO_SPEED_FREQ_VERY_HIGH;
  GPIO_InitStruct.Alternate = GPIO_AF7_USART2;
  HAL_GPIO_Init(GPIOD, &GPIO_InitStruct);

  /*Configure GPIO pins : ARD_D15_Pin ARD_D14_Pin */
  GPIO_InitStruct.Pin = ARD_D15_Pin|ARD_D14_Pin;
  GPIO_InitStruct.Mode = GPIO_MODE_AF_OD;
  GPIO_InitStruct.Pull = GPIO_NOPULL;
  GPIO_InitStruct.Speed = GPIO_SPEED_FREQ_VERY_HIGH;
  GPIO_InitStruct.Alternate = GPIO_AF4_I2C1;
  HAL_GPIO_Init(GPIOB, &GPIO_InitStruct);

  /* EXTI interrupt init*/
  HAL_NVIC_SetPriority(EXTI9_5_IRQn, 0, 0);
  HAL_NVIC_EnableIRQ(EXTI9_5_IRQn);

  HAL_NVIC_SetPriority(EXTI15_10_IRQn, 0, 0);
  HAL_NVIC_EnableIRQ(EXTI15_10_IRQn);

}

void Error_Handler(void)
{
  __disable_irq();
  while (1)
  {
  }
}
